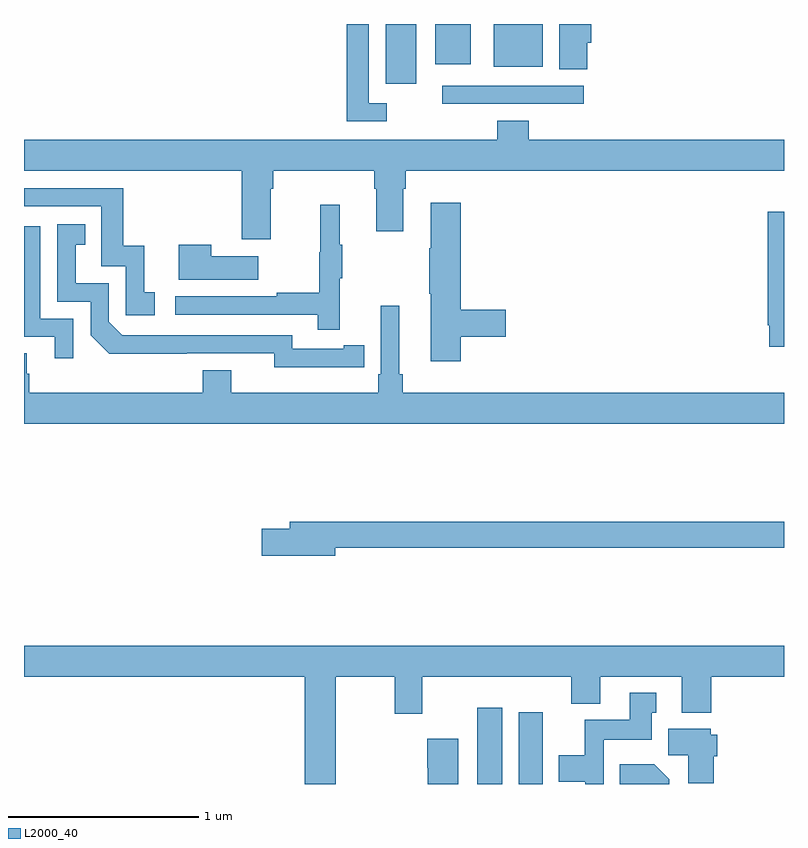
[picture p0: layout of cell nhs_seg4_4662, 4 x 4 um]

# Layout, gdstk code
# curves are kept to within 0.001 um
import gdstk
lib = gdstk.Library(unit=1e-6, precision=1e-09)
def R(c, l, rs):  # rectangles x0, y0, x1, y1
    for r in rs: c.add(gdstk.rectangle(r[:2], r[2:], *l))
def P(c, l, *ps):  # polygons
    for p in ps: c.add(gdstk.Polygon(p, *l))
L2000_40 = (2000, 40)

nhs_seg4_4662 = lib.new_cell('nhs_seg4_4662')
R(nhs_seg4_4662, L2000_40, [(363.386,818.9,363.517,819.301), (363.605,818.9,363.73,819.277), (363.201,822.48,363.946,822.576), (362.903,822.585,363.064,822.9), (363.473,822.674,363.73,822.9), (363.164,822.689,363.352,822.9)])
P(nhs_seg4_4662, L2000_40, [(362.908,822.483),(362.814,822.483),(362.814,822.9),(362.698,822.9),(362.698,822.387),(362.908,822.387)],
  [(363.965,822.801),(363.986,822.801),(363.986,822.9),(363.818,822.9),(363.818,822.661),(363.965,822.661)],
  [(362.299,822.032),(362.312,822.032),(362.312,822.128),(362.843,822.128),(362.843,822.032),(362.855,822.032),(362.855,821.808),(362.995,821.808),(362.995,822.032),(363.008,822.032),(363.008,822.128),(365,822.128),(365,822.292),(363.656,822.292),(363.656,822.391),(363.491,822.391),(363.491,822.292),(361,822.292),(361,822.128),(362.147,822.128),(362.147,821.766),(362.299,821.766)],
  [(361.687,821.487),(361.634,821.487),(361.634,821.734),(361.523,821.734),(361.523,822.036),(361,822.036),(361,821.94),(361.407,821.94),(361.407,821.625),(361.536,821.625),(361.536,821.367),(361.687,821.367)],
  [(363.299,821.254),(363.535,821.254),(363.535,821.396),(363.299,821.396),(363.299,821.959),(363.14,821.959),(363.14,821.72),(363.133,821.72),(363.133,821.479),(363.14,821.479),(363.14,821.124),(363.299,821.124)],
  [(362.663,821.563),(362.674,821.563),(362.674,821.737),(362.663,821.737),(362.663,821.95),(362.56,821.95),(362.56,821.7),(362.553,821.7),(362.553,821.486),(362.329,821.486),(362.329,821.466),(361.797,821.466),(361.797,821.37),(362.545,821.37),(362.545,821.292),(362.663,821.292)],
  [(365,821.912),(364.915,821.912),(364.915,821.314),(364.923,821.314),(364.923,821.202),(365,821.202)],
  [(362.684,821.094),(362.792,821.094),(362.792,821.21),(362.684,821.21),(362.684,821.19),(362.412,821.19),(362.412,821.262),(361.518,821.262),(361.446,821.334),(361.446,821.535),(361.273,821.535),(361.273,821.739),(361.322,821.739),(361.322,821.845),(361.176,821.845),(361.176,821.439),(361.35,821.439),(361.35,821.262),(361.448,821.165),(362.316,821.166),(362.316,821.093)],
  [(361.26,821.349),(361.086,821.349),(361.086,821.835),(361,821.835),(361,821.253),(361.163,821.253),(361.163,821.142),(361.26,821.142)],
  [(362.233,821.677),(361.985,821.677),(361.985,821.737),(361.814,821.737),(361.814,821.555),(362.233,821.555)],
  [(361,821.168),(361,820.796),(365,820.796),(365,820.96),(362.993,820.96),(362.993,821.056),(362.974,821.056),(362.974,821.416),(362.877,821.416),(362.877,821.056),(362.864,821.056),(362.864,820.96),(362.092,820.96),(362.092,821.077),(361.94,821.077),(361.94,820.96),(361.028,820.96),(361.028,821.058),(361.015,821.058),(361.015,821.168)],
  [(362.638,820.144),(365,820.144),(365,820.28),(362.399,820.28),(362.399,820.244),(362.25,820.244),(362.25,820.102),(362.638,820.102)],
  [(362.641,819.464),(362.95,819.464),(362.95,819.27),(363.097,819.27),(363.097,819.464),(363.881,819.464),(363.881,819.323),(364.033,819.323),(364.033,819.464),(364.463,819.464),(364.463,819.275),(364.616,819.275),(364.616,819.464),(365,819.464),(365,819.628),(361,819.628),(361,819.464),(362.477,819.464),(362.477,818.9),(362.641,818.9)],
  [(364.05,819.134),(364.303,819.134),(364.303,819.276),(364.327,819.276),(364.327,819.379),(364.187,819.379),(364.187,819.238),(363.952,819.238),(363.952,819.052),(363.815,819.052),(363.815,818.912),(363.954,818.912),(363.954,818.9),(364.05,818.9)],
  [(364.631,819.045),(364.649,819.045),(364.649,819.159),(364.614,819.159),(364.614,819.19),(364.391,819.19),(364.391,819.052),(364.496,819.052),(364.496,818.904),(364.631,818.904)],
  [(363.286,819.139),(363.122,819.139),(363.122,818.985),(363.124,818.985),(363.124,818.9),(363.286,818.9)],
  [(364.396,818.926),(364.318,819.004),(364.135,819.004),(364.135,818.9),(364.396,818.9)])

lib.write_gds('nhs_seg4_4662.gds')
